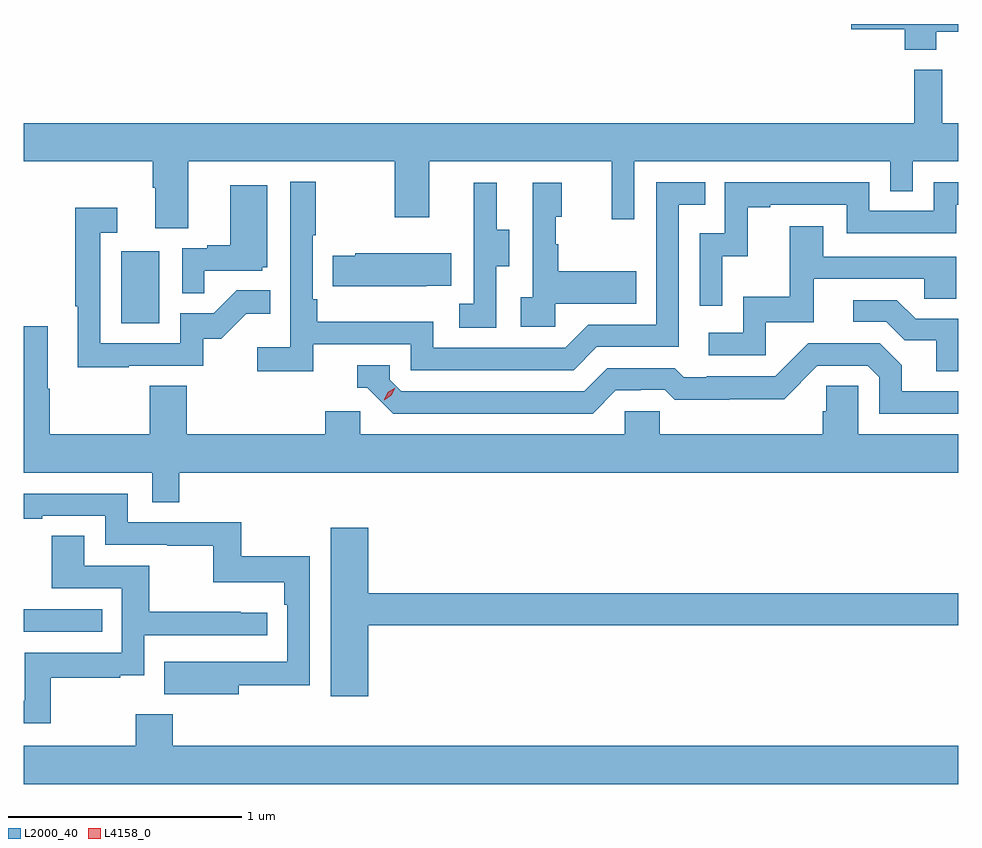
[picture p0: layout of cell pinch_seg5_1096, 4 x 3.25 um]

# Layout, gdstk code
import gdstk
lib = gdstk.Library(unit=1e-6, precision=1e-09)
def R(c, l, rs):  # rectangles x0, y0, x1, y1
    for r in rs: c.add(gdstk.rectangle(r[:2], r[2:], *l))
def P(c, l, *ps):  # polygons
    for p in ps: c.add(gdstk.Polygon(p, *l))
L2000_40 = (2000, 40)
L4158_0 = (4158, 0)

pinch_seg5_1096 = lib.new_cell('pinch_seg5_1096')
R(pinch_seg5_1096, L2000_40, [(815.141,844.092,815.477,844.188), (815.558,845.412,815.722,845.719)])
P(pinch_seg5_1096, L2000_40, [(819.046,846.659),(819.141,846.659),(819.141,846.692),(818.682,846.692),(818.682,846.67),(818.912,846.67),(818.912,846.581),(819.046,846.581)],
  [(815.141,846.104),(815.693,846.104),(815.693,845.992),(815.705,845.992),(815.705,845.818),(815.845,845.818),(815.845,846.104),(816.73,846.104),(816.73,845.865),(816.877,845.865),(816.877,846.104),(817.658,846.104),(817.658,845.856),(817.755,845.856),(817.755,846.104),(818.85,846.104),(818.85,845.977),(818.946,845.977),(818.946,846.104),(819.141,846.104),(819.141,846.268),(819.071,846.268),(819.071,846.496),(818.953,846.496),(818.953,846.268),(815.141,846.268)],
  [(816.38,845.322),(816.798,845.322),(816.798,845.211),(817.495,845.211),(817.594,845.31),(817.944,845.31),(817.944,845.919),(818.057,845.919),(818.057,846.015),(817.848,846.015),(817.848,845.406),(817.557,845.406),(817.458,845.307),(816.894,845.307),(816.894,845.419),(816.398,845.419),(816.398,845.515),(816.378,845.515),(816.378,845.788),(816.391,845.788),(816.391,846.016),(816.282,846.016),(816.282,845.308),(816.141,845.308),(816.141,845.206),(816.38,845.206)],
  [(818.13,845.699),(818.24,845.699),(818.24,845.907),(818.335,845.907),(818.335,845.919),(818.664,845.919),(818.664,845.796),(819.132,845.796),(819.132,845.919),(819.141,845.919),(819.141,846.015),(819.036,846.015),(819.036,845.892),(818.76,845.892),(818.76,846.015),(818.142,846.015),(818.142,845.796),(818.034,845.796),(818.034,845.487),(818.13,845.487)],
  [(817.164,845.656),(817.219,845.656),(817.219,845.811),(817.165,845.811),(817.165,846.013),(817.067,846.013),(817.067,845.799),(817.068,845.799),(817.068,845.495),(817.005,845.495),(817.005,845.392),(817.164,845.392)],
  [(817.416,845.495),(817.763,845.495),(817.763,845.635),(817.429,845.635),(817.429,845.75),(817.419,845.75),(817.419,845.868),(817.444,845.868),(817.444,846.013),(817.32,846.013),(817.32,845.522),(817.269,845.522),(817.269,845.397),(817.416,845.397)],
  [(815.915,845.637),(816.162,845.637),(816.162,845.652),(816.184,845.652),(816.184,846.001),(816.026,846.001),(816.026,845.746),(815.927,845.746),(815.927,845.733),(815.82,845.733),(815.82,845.539),(815.915,845.539)],
  [(815.591,845.229),(815.91,845.229),(815.91,845.346),(815.986,845.346),(816.093,845.453),(816.197,845.453),(816.197,845.552),(816.053,845.552),(815.955,845.454),(815.811,845.454),(815.811,845.325),(815.469,845.325),(815.469,845.799),(815.542,845.799),(815.542,845.905),(815.361,845.905),(815.361,845.485),(815.373,845.485),(815.373,845.224),(815.591,845.224)],
  [(818.316,845.415),(818.521,845.415),(818.521,845.601),(818.995,845.601),(818.995,845.517),(819.132,845.517),(819.132,845.697),(818.563,845.697),(818.563,845.827),(818.419,845.827),(818.419,845.524),(818.22,845.524),(818.22,845.37),(818.073,845.37),(818.073,845.274),(818.316,845.274)],
  [(816.863,845.573),(816.971,845.573),(816.971,845.71),(816.561,845.71),(816.561,845.7),(816.463,845.7),(816.463,845.57),(816.863,845.57)],
  [(819.141,845.43),(818.959,845.43),(818.878,845.511),(818.691,845.511),(818.691,845.418),(818.832,845.418),(818.912,845.338),(819.047,845.338),(819.047,845.206),(819.141,845.206)],
  [(815.807,844.772),(819.141,844.772),(819.141,844.936),(818.712,844.936),(818.712,845.144),(818.575,845.144),(818.575,845.034),(818.561,845.034),(818.561,844.936),(817.863,844.936),(817.863,845.034),(817.713,845.034),(817.713,844.936),(816.582,844.936),(816.582,845.034),(816.431,845.034),(816.431,844.936),(815.84,844.936),(815.84,845.144),(815.68,845.144),(815.68,844.936),(815.253,844.936),(815.253,845.132),(815.245,845.132),(815.245,845.398),(815.141,845.398),(815.141,844.772),(815.691,844.772),(815.691,844.645),(815.807,844.645)],
  [(817.675,845.124),(817.782,845.124),(817.782,845.127),(817.885,845.127),(817.927,845.085),(818.16,845.085),(818.16,845.087),(818.396,845.087),(818.538,845.229),(818.754,845.229),(818.802,845.181),(818.802,845.025),(819.141,845.025),(819.141,845.121),(818.899,845.121),(818.899,845.231),(818.805,845.325),(818.499,845.325),(818.358,845.184),(818.065,845.184),(818.065,845.181),(817.966,845.181),(817.927,845.22),(817.638,845.22),(817.539,845.121),(816.756,845.121),(816.708,845.169),(816.708,845.232),(816.569,845.232),(816.569,845.136),(816.612,845.136),(816.723,845.025),(817.576,845.025)],
  [(816.061,843.862),(816.366,843.862),(816.366,844.414),(816.073,844.414),(816.073,844.56),(815.586,844.56),(815.586,844.683),(815.141,844.683),(815.141,844.575),(815.221,844.575),(815.221,844.587),(815.49,844.587),(815.49,844.464),(815.755,844.464),(815.755,844.459),(815.952,844.459),(815.952,844.304),(816.257,844.304),(816.257,844.208),(816.27,844.208),(816.27,843.963),(815.957,843.963),(815.957,843.964),(815.743,843.964),(815.743,843.824),(816.061,843.824)],
  [(816.616,844.12),(819.141,844.12),(819.141,844.256),(816.616,844.256),(816.616,844.537),(816.455,844.537),(816.455,843.816),(816.616,843.816)],
  [(815.257,843.894),(815.555,843.894),(815.555,843.905),(815.658,843.905),(815.658,844.077),(816.184,844.077),(816.184,844.173),(816.071,844.173),(816.071,844.178),(815.678,844.178),(815.678,844.374),(815.401,844.374),(815.401,844.502),(815.261,844.502),(815.261,844.278),(815.562,844.278),(815.562,844.002),(815.146,844.002),(815.146,843.796),(815.141,843.796),(815.141,843.699),(815.257,843.699)],
  [(819.141,843.604),(815.78,843.604),(815.78,843.739),(815.62,843.739),(815.62,843.604),(815.141,843.604),(815.141,843.44),(819.141,843.44)])
P(pinch_seg5_1096, L4158_0, [(816.685,845.083),(816.685,845.084),(816.7,845.116),(816.731,845.136),(816.731,845.136),(816.731,845.136),(816.715,845.103),(816.685,845.083)])

lib.write_gds('pinch_seg5_1096.gds')
